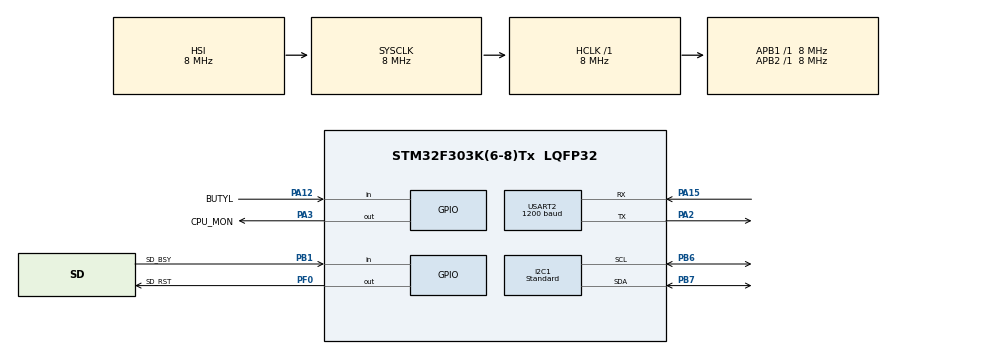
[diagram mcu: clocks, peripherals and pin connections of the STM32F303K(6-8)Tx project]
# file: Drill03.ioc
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ADC1.Channel-0\#ChannelRegularConversion=ADC_CHANNEL_TEMPSENSOR
ADC1.NbrOfConversionFlag=1
ADC1.Offset-0\#ChannelRegularConversion=0
ADC1.OffsetNumber-0\#ChannelRegularConversion=ADC_OFFSET_NONE
ADC1.Rank-0\#ChannelRegularConversion=1
ADC1.SamplingTime-0\#ChannelRegularConversion=ADC_SAMPLETIME_1CYCLE_5
ADC1.SamplingTimeOPAMP-0\#ChannelRegularConversion=ADC_SAMPLETIME_4CYCLES_5
ADC1.SubFamily=STM32F303x8
ADC1.master=1
Dma.Request0=USART2_TX
Dma.USART2_TX.0.Direction=DMA_MEMORY_TO_PERIPH
Dma.USART2_TX.0.Instance=DMA1_Channel7
Dma.USART2_TX.0.MemDataAlignment=DMA_MDATAALIGN_BYTE
Dma.USART2_TX.0.MemInc=DMA_MINC_ENABLE
Dma.USART2_TX.0.Mode=DMA_NORMAL
Dma.USART2_TX.0.PeriphDataAlignment=DMA_PDATAALIGN_BYTE
Dma.USART2_TX.0.PeriphInc=DMA_PINC_DISABLE
Dma.USART2_TX.0.Priority=DMA_PRIORITY_LOW
I2C1.Analog_Filter=I2C_ANALOGFILTER_ENABLE
I2C1.I2C_Coeff_DF=15
I2C1.I2C_Rise_Time=100
I2C1.I2C_Speed_Mode=I2C_Standard
I2C1.Speed=25
I2C1.Timing=0x00201CFE
Mcu.Family=STM32F3
Mcu.Name=STM32F303K(6-8)Tx
Mcu.Package=LQFP32
NVIC.DMA1_Channel7_IRQn=true\:0\:0\:false\:false\:true\:false\:true\:true
NVIC.PriorityGroup=NVIC_PRIORITYGROUP_4
NVIC.TIM1_BRK_TIM15_IRQn=true\:15\:0\:false\:false\:true\:false\:true\:true
NVIC.TIM6_DAC1_IRQn=true\:0\:0\:false\:false\:true\:true\:true\:true
NVIC.TimeBase=TIM1_BRK_TIM15_IRQn
NVIC.TimeBaseIP=TIM15
NVIC.USART2_IRQn=true\:0\:0\:false\:false\:true\:true\:true\:true
PA12.GPIO_Label=BUTYL
PA12.GPIO_PuPd=GPIO_PULLUP
PA12.Signal=GPIO_Input
PA13.GPIO_Label=SWDIO
PA13.Mode=Trace_Asynchronous_SW
PA13.Signal=SYS_JTMS-SWDIO
PA14.GPIO_Label=SWCLK
PA14.Mode=Trace_Asynchronous_SW
PA14.Signal=SYS_JTCK-SWCLK
PA15.GPIO_ModeDefaultPP=GPIO_MODE_AF_PP
PA15.GPIO_PuPd=GPIO_NOPULL
PA15.GPIO_Speed=GPIO_SPEED_FREQ_HIGH
PA15.Mode=Asynchronous
PA15.Signal=USART2_RX
PA2.GPIO_ModeDefaultPP=GPIO_MODE_AF_PP
PA2.GPIO_PuPd=GPIO_NOPULL
PA2.GPIO_Speed=GPIO_SPEED_FREQ_HIGH
PA2.Mode=Asynchronous
PA2.Signal=USART2_TX
PA3.GPIO_Label=CPU_MON
PA3.Signal=GPIO_Output
PB1.GPIO_Label=SD_BSY
PB1.Signal=GPIO_Input
PB3.GPIO_Label=SWO
PB3.Mode=Trace_Asynchronous_SW
PB3.Signal=SYS_JTDO-TRACESWO
PB6.GPIO_Pu=GPIO_NOPULL
PB6.GPIO_Speed=GPIO_SPEED_FREQ_MEDIUM
PB6.Mode=I2C
PB6.Signal=I2C1_SCL
PB7.GPIO_Pu=GPIO_NOPULL
PB7.GPIO_Speed=GPIO_SPEED_FREQ_MEDIUM
PB7.Mode=I2C
PB7.Signal=I2C1_SDA
PF0\ /\ OSC_IN.GPIO_Label=SD_RST
PF0\ /\ OSC_IN.PinState=GPIO_PIN_SET
PF0\ /\ OSC_IN.Signal=GPIO_Output
ProjectManager.HeapSize=0x200
ProjectManager.StackSize=0x400
ProjectManager.TargetToolchain=STM32CubeIDE
RCC.AHBFreq_Value=8000000
RCC.APB1Freq_Value=8000000
RCC.APB1TimFreq_Value=8000000
RCC.APB2Freq_Value=8000000
RCC.APB2TimFreq_Value=8000000
RCC.CortexFreq_Value=8000000
RCC.HCLKFreq_Value=8000000
RCC.HSE_VALUE=8000000
RCC.HSI_VALUE=8000000
RCC.PLLMUL=RCC_PLL_MUL4
RCC.SYSCLKFreq_VALUE=8000000
TIM6.AutoReloadPreload=TIM_AUTORELOAD_PRELOAD_ENABLE
TIM6.Period=1
TIM6.Prescaler=4000-1
USART2.BaudRate=1200
USART2.VirtualMode-Asynchronous=VM_ASYNC
VP_ADC1_TempSens_Input.Mode=IN-TempSens
VP_SYS_VS_tim15.Mode=TIM15
VP_TIM6_VS_ClockSourceINT.Mode=Enable_Timer
board=NUCLEO-F303K8

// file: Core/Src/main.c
/* USER CODE BEGIN Header */
/**
  ******************************************************************************
  * @file           : main.c
  * @brief          : Main program body
  ******************************************************************************
  * @attention
  *
  * Copyright (c) 2023 STMicroelectronics.
  * All rights reserved.
  *
  * This software is licensed under terms that can be found in the LICENSE file
  * in the root directory of this software component.
  * If no LICENSE file comes with this software, it is provided AS-IS.
  *
  ******************************************************************************
  */
/* USER CODE END Header */
#include "main.h"

/* USER CODE BEGIN Includes */
#include <stdio.h>
#include <stdlib.h>
#include <string.h>
#include "drill_mon.h"
#include "bm1422.h"
#include "bme280.h"
#include "bno055_stm32.h"
#include "mcp3424.h"
#include "mod20.h"
/* USER CODE END Includes */

ADC_HandleTypeDef hadc1;

I2C_HandleTypeDef hi2c1;

TIM_HandleTypeDef htim6;

UART_HandleTypeDef huart2;
DMA_HandleTypeDef hdma_usart2_tx;

/* USER CODE BEGIN PV */
DRILL_STATUS Dst;
//bme280
struct bme280_dev bme_dev;
struct bme280_data comp_data;
//20260805 ファイル処理削除
//uint8_t F_STAT=0;
/* USER CODE END PV */

void SystemClock_Config(void);
static void MX_GPIO_Init(void);
static void MX_DMA_Init(void);
static void MX_USART2_UART_Init(void);
static void MX_TIM6_Init(void);
static void MX_I2C1_Init(void);
static void MX_ADC1_Init(void);

/* USER CODE BEGIN 0 */
void HAL_UART_TxCpltCallback(UART_HandleTypeDef *huart) {
    huart2.gState = HAL_UART_STATE_READY;
}

int8_t BME280_i2c_read(uint8_t id, uint8_t reg_addr, uint8_t *data, uint16_t len) {
    volatile HAL_StatusTypeDef s;
    s = HAL_I2C_Mem_Read(&hi2c1, id << 1, reg_addr, I2C_MEMADD_SIZE_8BIT, data, len, 100);
    if (s != HAL_OK) return -1;
    return 0;
}

void BME280_delay_ms(uint32_t period) {
    HAL_Delay(period);
}

int8_t BME280_i2c_write(uint8_t id, uint8_t reg_addr, uint8_t *data, uint16_t len) {
    int8_t *buf;
    buf = malloc(len + 1);
    buf[0] = reg_addr;
    memcpy(buf + 1, data, len);

    if (HAL_I2C_Master_Transmit(&hi2c1, (id << 1), (uint8_t *) buf, len + 1, HAL_MAX_DELAY) != HAL_OK) return -1;

    free(buf);
    return 0;
}

/* USER CODE END 0 */

int main(void)
{

  /* MCU Configuration--------------------------------------------------------*/

  /* Reset of all peripherals, Initializes the Flash interface and the Systick. */
  HAL_Init();

  /* USER CODE BEGIN Init */
  /* OpenOCD の reset-init が PLL(64MHz) を有効にしたまま main に入るため、
     SYSCLK=PLL の状態だと HAL_RCC_OscConfig() が PLL を再設定できず HAL_ERROR を返す。
     先に RCC をリセット状態(HSI)に戻す。 */
  HAL_RCC_DeInit();
  /* USER CODE END Init */

  /* Configure the system clock */
  SystemClock_Config();

  /* Initialize all configured peripherals */
  MX_GPIO_Init();
  MX_DMA_Init();
  MX_USART2_UART_Init();
  MX_TIM6_Init();
  MX_I2C1_Init();
  MX_ADC1_Init();
  /* USER CODE BEGIN 2 */
  //気温センサの起動待ち
  HAL_Delay(2000);

    //Geo_mag
#if 1
    BM1422_Init(&hi2c1);
    //BM1422_dump(&hi2c1);
#endif

#if 1
    //BME280
    int8_t result=0;
    bme_dev.dev_id = BME280_I2C_ADDR_PRIM;
    bme_dev.intf = BME280_I2C_INTF;
    bme_dev.read = BME280_i2c_read;
    bme_dev.write = BME280_i2c_write;
    bme_dev.delay_ms = BME280_delay_ms;
    result = bme280_init(&bme_dev);
    bme_dev.settings.osr_h = BME280_OVERSAMPLING_1X;
    bme_dev.settings.osr_p = BME280_OVERSAMPLING_16X;
    bme_dev.settings.osr_t = BME280_OVERSAMPLING_2X;
    bme_dev.settings.filter = BME280_FILTER_COEFF_16;
    bme280_set_sensor_settings(
            BME280_OSR_PRESS_SEL | BME280_OSR_TEMP_SEL | BME280_OSR_HUM_SEL | BME280_FILTER_SEL, &bme_dev);
    //bme280_dump(&bme_dev, &comp_data);
#endif

#if 1
    //BNO055
    bno055_assignI2C(&hi2c1);
    bno055_setup();
    bno055_setOperationModeNDOF();
    //bno055_dump();
#endif

    //MCP3424
    //MCP3424_dump(MCP3424_HV_ADDR);
    //MCP3424_dump(MCP3424_PT100_ADDR);
    //MCP3424_dump(MCP3424_LVDT_ADDR);

#if 1
    //SD
    //20260805 ファイル処理削除
    // result = mod20_Init(&hi2c1);
    // if(result !=0) F_STAT |= ST_SD_INIT;
#endif
    //タイマスタート
    HAL_TIM_Base_Start_IT(&htim6);
  /* USER CODE END 2 */

  /* Infinite loop */
  /* USER CODE BEGIN WHILE */
    while (1) {
        drill_loop(&Dst);
    /* USER CODE END WHILE */

    }
}

void SystemClock_Config(void)
{
  RCC_OscInitTypeDef RCC_OscInitStruct = {0};
  RCC_ClkInitTypeDef RCC_ClkInitStruct = {0};
  RCC_PeriphCLKInitTypeDef PeriphClkInit = {0};

  /** Initializes the RCC Oscillators according to the specified parameters
  * in the RCC_OscInitTypeDef structure.
  */
  RCC_OscInitStruct.OscillatorType = RCC_OSCILLATORTYPE_HSI;
  RCC_OscInitStruct.HSIState = RCC_HSI_ON;
  RCC_OscInitStruct.HSICalibrationValue = RCC_HSICALIBRATION_DEFAULT;
  RCC_OscInitStruct.PLL.PLLState = RCC_PLL_ON;
  RCC_OscInitStruct.PLL.PLLSource = RCC_PLLSOURCE_HSI;
  RCC_OscInitStruct.PLL.PLLMUL = RCC_PLL_MUL4;
  if (HAL_RCC_OscConfig(&RCC_OscInitStruct) != HAL_OK)
  {
    Error_Handler();
  }

  /** Initializes the CPU, AHB and APB buses clocks
  */
  RCC_ClkInitStruct.ClockType = RCC_CLOCKTYPE_HCLK|RCC_CLOCKTYPE_SYSCLK
                              |RCC_CLOCKTYPE_PCLK1|RCC_CLOCKTYPE_PCLK2;
  RCC_ClkInitStruct.SYSCLKSource = RCC_SYSCLKSOURCE_HSI;
  RCC_ClkInitStruct.AHBCLKDivider = RCC_SYSCLK_DIV1;
  RCC_ClkInitStruct.APB1CLKDivider = RCC_HCLK_DIV1;
  RCC_ClkInitStruct.APB2CLKDivider = RCC_HCLK_DIV1;

  if (HAL_RCC_ClockConfig(&RCC_ClkInitStruct, FLASH_LATENCY_0) != HAL_OK)
  {
    Error_Handler();
  }
  PeriphClkInit.PeriphClockSelection = RCC_PERIPHCLK_I2C1|RCC_PERIPHCLK_ADC12;
  PeriphClkInit.Adc12ClockSelection = RCC_ADC12PLLCLK_DIV1;
  PeriphClkInit.I2c1ClockSelection = RCC_I2C1CLKSOURCE_HSI;
  if (HAL_RCCEx_PeriphCLKConfig(&PeriphClkInit) != HAL_OK)
  {
    Error_Handler();
  }
}

static void MX_ADC1_Init(void)
{

  ADC_MultiModeTypeDef multimode = {0};
  ADC_ChannelConfTypeDef sConfig = {0};

  /** Common config
  */
  hadc1.Instance = ADC1;
  hadc1.Init.ClockPrescaler = ADC_CLOCK_ASYNC_DIV1;
  hadc1.Init.Resolution = ADC_RESOLUTION_12B;
  hadc1.Init.ScanConvMode = ADC_SCAN_DISABLE;
  hadc1.Init.ContinuousConvMode = DISABLE;
  hadc1.Init.DiscontinuousConvMode = DISABLE;
  hadc1.Init.ExternalTrigConvEdge = ADC_EXTERNALTRIGCONVEDGE_NONE;
  hadc1.Init.ExternalTrigConv = ADC_SOFTWARE_START;
  hadc1.Init.DataAlign = ADC_DATAALIGN_RIGHT;
  hadc1.Init.NbrOfConversion = 1;
  hadc1.Init.DMAContinuousRequests = DISABLE;
  hadc1.Init.EOCSelection = ADC_EOC_SINGLE_CONV;
  hadc1.Init.LowPowerAutoWait = DISABLE;
  hadc1.Init.Overrun = ADC_OVR_DATA_OVERWRITTEN;
  if (HAL_ADC_Init(&hadc1) != HAL_OK)
  {
    Error_Handler();
  }

  /** Configure the ADC multi-mode
  */
  multimode.Mode = ADC_MODE_INDEPENDENT;
  if (HAL_ADCEx_MultiModeConfigChannel(&hadc1, &multimode) != HAL_OK)
  {
    Error_Handler();
  }

  /** Configure Regular Channel
  */
  sConfig.Channel = ADC_CHANNEL_TEMPSENSOR;
  sConfig.Rank = ADC_REGULAR_RANK_1;
  sConfig.SingleDiff = ADC_SINGLE_ENDED;
  sConfig.SamplingTime = ADC_SAMPLETIME_1CYCLE_5;
  sConfig.OffsetNumber = ADC_OFFSET_NONE;
  sConfig.Offset = 0;
  if (HAL_ADC_ConfigChannel(&hadc1, &sConfig) != HAL_OK)
  {
    Error_Handler();
  }
  /* USER CODE BEGIN ADC1_Init 2 */

  /* ADCの自己校正（ADC無効状態・レギュレータ有効状態で実施する必要がある）。
     これを行わないとオフセット誤差がそのまま温度誤差になる。 */
  if (HAL_ADCEx_Calibration_Start(&hadc1, ADC_SINGLE_ENDED) != HAL_OK)
  {
    Error_Handler();
  }

  /* USER CODE END ADC1_Init 2 */

}

static void MX_I2C1_Init(void)
{

  hi2c1.Instance = I2C1;
  hi2c1.Init.Timing = 0x00201CFE;
  hi2c1.Init.OwnAddress1 = 0;
  hi2c1.Init.AddressingMode = I2C_ADDRESSINGMODE_7BIT;
  hi2c1.Init.DualAddressMode = I2C_DUALADDRESS_DISABLE;
  hi2c1.Init.OwnAddress2 = 0;
  hi2c1.Init.OwnAddress2Masks = I2C_OA2_NOMASK;
  hi2c1.Init.GeneralCallMode = I2C_GENERALCALL_DISABLE;
  hi2c1.Init.NoStretchMode = I2C_NOSTRETCH_DISABLE;
  if (HAL_I2C_Init(&hi2c1) != HAL_OK)
  {
    Error_Handler();
  }

  /** Configure Analogue filter
  */
  if (HAL_I2CEx_ConfigAnalogFilter(&hi2c1, I2C_ANALOGFILTER_ENABLE) != HAL_OK)
  {
    Error_Handler();
  }

  /** Configure Digital filter
  */
  if (HAL_I2CEx_ConfigDigitalFilter(&hi2c1, 15) != HAL_OK)
  {
    Error_Handler();
  }

}

static void MX_TIM6_Init(void)
{

  TIM_MasterConfigTypeDef sMasterConfig = {0};

  htim6.Instance = TIM6;
  htim6.Init.Prescaler = 4000-1;
  htim6.Init.CounterMode = TIM_COUNTERMODE_UP;
  htim6.Init.Period = 1;
  htim6.Init.AutoReloadPreload = TIM_AUTORELOAD_PRELOAD_ENABLE;
  if (HAL_TIM_Base_Init(&htim6) != HAL_OK)
  {
    Error_Handler();
  }
  sMasterConfig.MasterOutputTrigger = TIM_TRGO_RESET;
  sMasterConfig.MasterSlaveMode = TIM_MASTERSLAVEMODE_DISABLE;
  if (HAL_TIMEx_MasterConfigSynchronization(&htim6, &sMasterConfig) != HAL_OK)
  {
    Error_Handler();
  }

}

static void MX_USART2_UART_Init(void)
{

  huart2.Instance = USART2;
  huart2.Init.BaudRate = 1200;
  huart2.Init.WordLength = UART_WORDLENGTH_8B;
  huart2.Init.StopBits = UART_STOPBITS_1;
  huart2.Init.Parity = UART_PARITY_NONE;
  huart2.Init.Mode = UART_MODE_TX_RX;
  huart2.Init.HwFlowCtl = UART_HWCONTROL_NONE;
  huart2.Init.OverSampling = UART_OVERSAMPLING_16;
  huart2.Init.OneBitSampling = UART_ONE_BIT_SAMPLE_DISABLE;
  huart2.AdvancedInit.AdvFeatureInit = UART_ADVFEATURE_NO_INIT;
  if (HAL_UART_Init(&huart2) != HAL_OK)
  {
    Error_Handler();
  }

}

static void MX_DMA_Init(void)
{

  /* DMA controller clock enable */
  __HAL_RCC_DMA1_CLK_ENABLE();

  /* DMA interrupt init */
  /* DMA1_Channel7_IRQn interrupt configuration */
  HAL_NVIC_SetPriority(DMA1_Channel7_IRQn, 0, 0);
  HAL_NVIC_EnableIRQ(DMA1_Channel7_IRQn);

}

static void MX_GPIO_Init(void)
{
  GPIO_InitTypeDef GPIO_InitStruct = {0};

  /* GPIO Ports Clock Enable */
  __HAL_RCC_GPIOF_CLK_ENABLE();
  __HAL_RCC_GPIOA_CLK_ENABLE();
  __HAL_RCC_GPIOB_CLK_ENABLE();

  /*Configure GPIO pin Output Level */
  HAL_GPIO_WritePin(SD_RST_GPIO_Port, SD_RST_Pin, GPIO_PIN_SET);

  /*Configure GPIO pin Output Level */
  HAL_GPIO_WritePin(CPU_MON_GPIO_Port, CPU_MON_Pin, GPIO_PIN_RESET);

  /*Configure GPIO pin : SD_RST_Pin */
  GPIO_InitStruct.Pin = SD_RST_Pin;
  GPIO_InitStruct.Mode = GPIO_MODE_OUTPUT_PP;
  GPIO_InitStruct.Pull = GPIO_NOPULL;
  GPIO_InitStruct.Speed = GPIO_SPEED_FREQ_LOW;
  HAL_GPIO_Init(SD_RST_GPIO_Port, &GPIO_InitStruct);

  /*Configure GPIO pin : CPU_MON_Pin */
  GPIO_InitStruct.Pin = CPU_MON_Pin;
  GPIO_InitStruct.Mode = GPIO_MODE_OUTPUT_PP;
  GPIO_InitStruct.Pull = GPIO_NOPULL;
  GPIO_InitStruct.Speed = GPIO_SPEED_FREQ_LOW;
  HAL_GPIO_Init(CPU_MON_GPIO_Port, &GPIO_InitStruct);

  /*Configure GPIO pin : SD_BSY_Pin */
  GPIO_InitStruct.Pin = SD_BSY_Pin;
  GPIO_InitStruct.Mode = GPIO_MODE_INPUT;
  GPIO_InitStruct.Pull = GPIO_NOPULL;
  HAL_GPIO_Init(SD_BSY_GPIO_Port, &GPIO_InitStruct);

  /*Configure GPIO pin : BUTYL_Pin */
  GPIO_InitStruct.Pin = BUTYL_Pin;
  GPIO_InitStruct.Mode = GPIO_MODE_INPUT;
  GPIO_InitStruct.Pull = GPIO_PULLUP;
  HAL_GPIO_Init(BUTYL_GPIO_Port, &GPIO_InitStruct);

}

/* USER CODE BEGIN 4 */
volatile uint8_t FatFsCnt = 0;
volatile uint8_t Timer1, Timer2;

void SDTimer_Handler(void) {
    if (Timer1 > 0)
        Timer1--;
    if (Timer2 > 0)
        Timer2--;
}
/* USER CODE END 4 */

void HAL_TIM_PeriodElapsedCallback(TIM_HandleTypeDef *htim)
{
  /* USER CODE BEGIN Callback 0 */
    static int ti = 0;
  /* USER CODE END Callback 0 */
  if (htim->Instance == TIM15)
  {
    HAL_IncTick();
  }
  /* USER CODE BEGIN Callback 1 */
    if (htim->Instance == TIM15) {
        FatFsCnt++;
        if (FatFsCnt >= 10) {
            FatFsCnt = 0;
            SDTimer_Handler();
        }
    }
    if (htim == &htim6) {
        PPS_Tick(&Dst);
    }
  /* USER CODE END Callback 1 */
}

void Error_Handler(void)
{
    __disable_irq();
    while (1) {
    }
}
